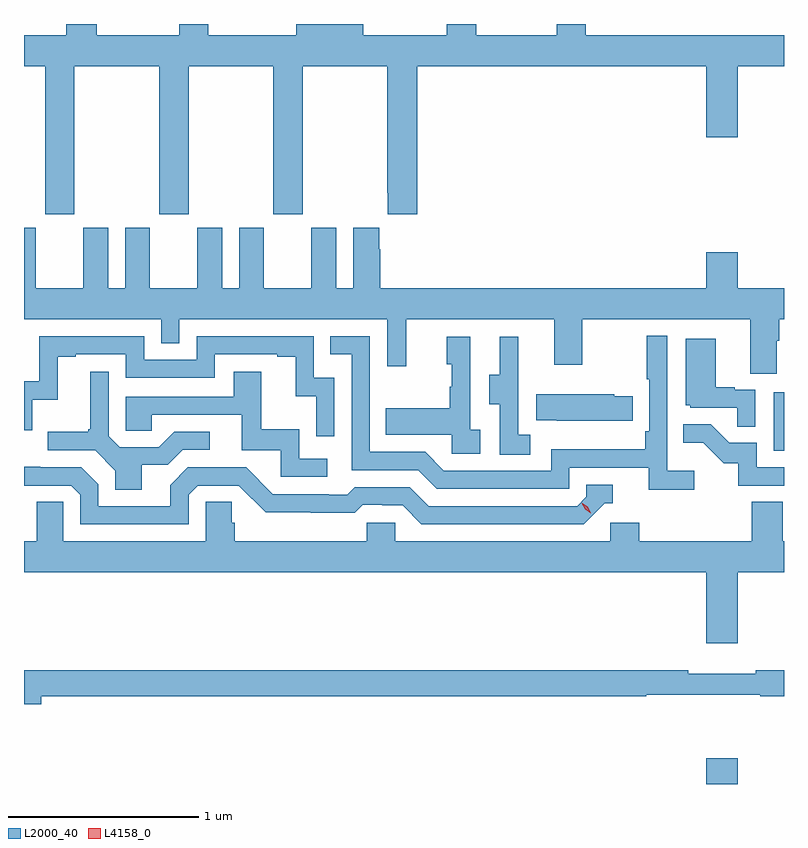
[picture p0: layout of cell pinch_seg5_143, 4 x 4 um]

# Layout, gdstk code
import gdstk
lib = gdstk.Library(unit=1e-6, precision=1e-09)
def R(c, l, rs):  # rectangles x0, y0, x1, y1
    for r in rs: c.add(gdstk.rectangle(r[:2], r[2:], *l))
def P(c, l, *ps):  # polygons
    for p in ps: c.add(gdstk.Polygon(p, *l))
L2000_40 = (2000, 40)
L4158_0 = (4158, 0)

pinch_seg5_143 = lib.new_cell('pinch_seg5_143')
R(pinch_seg5_143, L2000_40, [(1040.132,872.962,1040.296,873.097), (1040.486,874.716,1040.54,875.023)])
P(pinch_seg5_143, L2000_40, [(1037.511,876.962),(1037.356,876.962),(1037.356,876.904),(1036.923,876.904),(1036.923,876.962),(1036.763,876.962),(1036.763,876.904),(1036.54,876.904),(1036.54,876.74),(1036.651,876.74),(1036.651,875.961),(1036.805,875.961),(1036.805,876.74),(1037.251,876.74),(1037.251,875.961),(1037.406,875.961),(1037.406,876.74),(1037.851,876.74),(1037.851,875.961),(1038.006,875.961),(1038.006,876.74),(1038.451,876.74),(1038.451,876.073),(1038.455,876.073),(1038.455,875.961),(1038.611,875.961),(1038.611,876.74),(1040.132,876.74),(1040.132,876.366),(1040.296,876.366),(1040.296,876.74),(1040.54,876.74),(1040.54,876.904),(1039.496,876.904),(1039.496,876.962),(1039.343,876.962),(1039.343,876.904),(1038.921,876.904),(1038.921,876.962),(1038.766,876.962),(1038.766,876.904),(1038.325,876.904),(1038.325,876.962),(1037.972,876.962),(1037.972,876.904),(1037.511,876.904)],
  [(1040.503,875.296),(1040.516,875.296),(1040.516,875.408),(1040.54,875.408),(1040.54,875.572),(1040.296,875.572),(1040.296,875.761),(1040.132,875.761),(1040.132,875.572),(1038.416,875.572),(1038.416,875.777),(1038.409,875.777),(1038.409,875.89),(1038.272,875.89),(1038.272,875.572),(1038.184,875.572),(1038.184,875.89),(1038.053,875.89),(1038.053,875.572),(1037.803,875.572),(1037.803,875.89),(1037.672,875.89),(1037.672,875.572),(1037.584,875.572),(1037.584,875.89),(1037.453,875.89),(1037.453,875.572),(1037.203,875.572),(1037.203,875.89),(1037.072,875.89),(1037.072,875.572),(1036.984,875.572),(1036.984,875.89),(1036.853,875.89),(1036.853,875.572),(1036.603,875.572),(1036.603,875.89),(1036.54,875.89),(1036.54,875.408),(1037.262,875.408),(1037.262,875.281),(1037.358,875.281),(1037.358,875.408),(1038.453,875.408),(1038.453,875.16),(1038.551,875.16),(1038.551,875.408),(1039.331,875.408),(1039.331,875.169),(1039.478,875.169),(1039.478,875.408),(1040.363,875.408),(1040.363,875.122),(1040.503,875.122)],
  [(1040.068,874.612),(1039.926,874.612),(1039.926,875.32),(1039.818,875.32),(1039.818,875.092),(1039.83,875.092),(1039.83,874.819),(1039.81,874.819),(1039.81,874.723),(1039.314,874.723),(1039.314,874.611),(1038.75,874.611),(1038.651,874.71),(1038.36,874.71),(1038.36,875.319),(1038.151,875.319),(1038.151,875.223),(1038.264,875.223),(1038.264,874.614),(1038.614,874.614),(1038.713,874.515),(1039.41,874.515),(1039.41,874.626),(1039.829,874.626),(1039.829,874.51),(1040.068,874.51)],
  [(1038.174,875.1),(1038.066,875.1),(1038.066,875.319),(1037.448,875.319),(1037.448,875.196),(1037.172,875.196),(1037.172,875.319),(1036.62,875.319),(1036.62,875.083),(1036.54,875.083),(1036.54,874.824),(1036.584,874.824),(1036.584,874.985),(1036.717,874.985),(1036.717,875.211),(1036.813,875.211),(1036.813,875.223),(1037.076,875.223),(1037.076,875.1),(1037.544,875.1),(1037.544,875.223),(1037.873,875.223),(1037.873,875.211),(1037.969,875.211),(1037.969,875.003),(1038.078,875.003),(1038.078,874.791),(1038.174,874.791)],
  [(1038.94,874.826),(1038.888,874.826),(1038.888,875.317),(1038.764,875.317),(1038.764,875.172),(1038.79,875.172),(1038.79,875.054),(1038.78,875.054),(1038.78,874.939),(1038.445,874.939),(1038.445,874.799),(1038.792,874.799),(1038.792,874.701),(1038.94,874.701)],
  [(1039.204,874.799),(1039.14,874.799),(1039.14,875.103),(1039.142,875.103),(1039.142,875.317),(1039.043,875.317),(1039.043,875.115),(1038.989,875.115),(1038.989,874.96),(1039.044,874.96),(1039.044,874.696),(1039.204,874.696)],
  [(1040.388,875.037),(1040.282,875.037),(1040.282,875.05),(1040.182,875.05),(1040.182,875.305),(1040.024,875.305),(1040.024,874.956),(1040.046,874.956),(1040.046,874.941),(1040.293,874.941),(1040.293,874.843),(1040.388,874.843)],
  [(1037.161,874.642),(1037.296,874.642),(1037.376,874.722),(1037.518,874.722),(1037.518,874.815),(1037.33,874.815),(1037.249,874.734),(1037.043,874.734),(1036.986,874.791),(1036.986,875.131),(1036.889,875.131),(1036.889,874.828),(1036.878,874.828),(1036.878,874.816),(1036.665,874.816),(1036.665,874.719),(1036.914,874.719),(1037.021,874.612),(1037.021,874.51),(1037.161,874.51)],
  [(1038.136,874.674),(1037.988,874.674),(1037.988,874.828),(1037.789,874.828),(1037.789,875.131),(1037.645,875.131),(1037.645,875.001),(1037.076,875.001),(1037.076,874.821),(1037.213,874.821),(1037.213,874.905),(1037.687,874.905),(1037.687,874.719),(1037.892,874.719),(1037.892,874.578),(1038.136,874.578)],
  [(1039.745,875.004),(1039.647,875.004),(1039.647,875.014),(1039.237,875.014),(1039.237,874.877),(1039.345,874.877),(1039.345,874.874),(1039.745,874.874)],
  [(1040.54,874.629),(1040.397,874.629),(1040.397,874.758),(1040.253,874.758),(1040.155,874.856),(1040.011,874.856),(1040.011,874.757),(1040.115,874.757),(1040.222,874.65),(1040.299,874.65),(1040.299,874.533),(1040.54,874.533)],
  [(1037.406,874.485),(1037.454,874.533),(1037.67,874.533),(1037.812,874.391),(1038.048,874.391),(1038.048,874.389),(1038.281,874.389),(1038.323,874.431),(1038.426,874.431),(1038.426,874.428),(1038.533,874.428),(1038.632,874.329),(1039.485,874.329),(1039.596,874.44),(1039.639,874.44),(1039.639,874.536),(1039.5,874.536),(1039.5,874.473),(1039.452,874.425),(1038.669,874.425),(1038.57,874.524),(1038.281,874.524),(1038.242,874.485),(1038.143,874.485),(1038.143,874.488),(1037.85,874.488),(1037.709,874.629),(1037.403,874.629),(1037.309,874.535),(1037.309,874.425),(1036.932,874.425),(1036.932,874.539),(1036.842,874.629),(1036.626,874.629),(1036.626,874.631),(1036.54,874.631),(1036.54,874.533),(1036.788,874.533),(1036.836,874.485),(1036.836,874.329),(1037.406,874.329)],
  [(1040.296,874.076),(1040.54,874.076),(1040.54,874.24),(1040.534,874.24),(1040.534,874.448),(1040.369,874.448),(1040.369,874.24),(1039.778,874.24),(1039.778,874.338),(1039.626,874.338),(1039.626,874.24),(1038.495,874.24),(1038.495,874.338),(1038.345,874.338),(1038.345,874.24),(1037.648,874.24),(1037.648,874.338),(1037.633,874.338),(1037.633,874.448),(1037.496,874.448),(1037.496,874.24),(1036.746,874.24),(1036.746,874.448),(1036.607,874.448),(1036.607,874.24),(1036.54,874.24),(1036.54,874.076),(1040.132,874.076),(1040.132,873.702),(1040.296,873.702)],
  [(1036.63,873.424),(1039.816,873.424),(1039.816,873.432),(1040.416,873.432),(1040.416,873.424),(1040.54,873.424),(1040.54,873.56),(1040.392,873.56),(1040.392,873.541),(1040.036,873.541),(1040.036,873.56),(1036.54,873.56),(1036.54,873.382),(1036.63,873.382)])
P(pinch_seg5_143, L4158_0, [(1039.524,874.388),(1039.493,874.407),(1039.476,874.439),(1039.476,874.44),(1039.477,874.44),(1039.508,874.42),(1039.524,874.388),(1039.524,874.388)])

lib.write_gds('pinch_seg5_143.gds')
